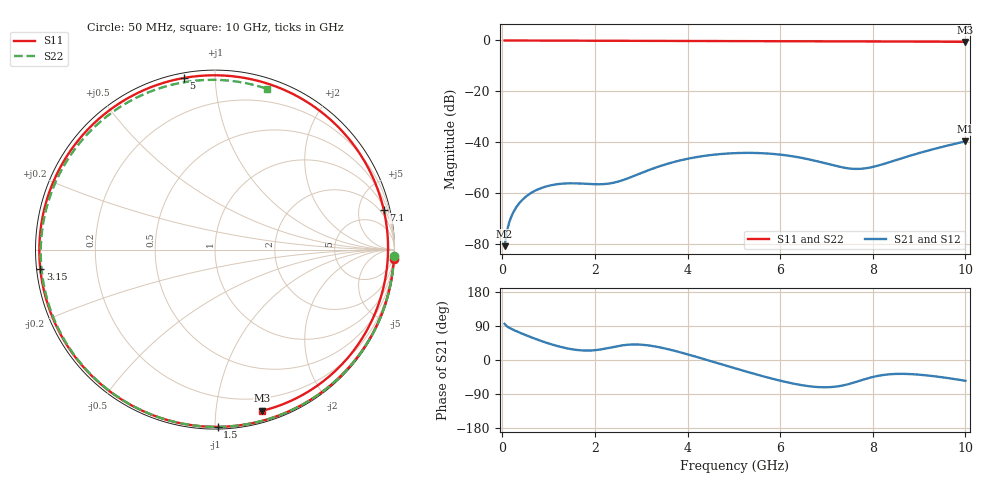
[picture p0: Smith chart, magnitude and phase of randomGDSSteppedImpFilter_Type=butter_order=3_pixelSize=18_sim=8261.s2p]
! freq	dB(S11)	phase(S11)	dB(S12)	phase(S12)
!  dB(S21)	phase(S21)	dB(S22)	phase(S22)
!S-par simulation data
#  GHz  S  DB  R 50
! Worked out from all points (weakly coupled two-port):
!   200 points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, 50 MHz to 10 GHz, reference 50 ohm
!   highest |S21| = -39.70 dB at 10 GHz (marker M1); lowest = -80.9 dB at 50 MHz (marker M2)
!   lowest |S11| = -0.6 dB at 10 GHz (marker M3), VSWR 30.15, Z = 4.6 - j66.5 ohm
!   |S11| at or under -10 dB: nowhere
!   |S22| runs from -0.5 to 0.0 dB; largest |S21 - S12| = 0
!   S11 on the Smith chart (normalised r, x): 50 MHz: 1, -38; 1.5 GHz: 0.01, -1.01; 3.15 GHz: 0.01, -0.05; 5 GHz: 0.02, +0.83; 7.1 GHz: 1.29, +8.45; 10 GHz: 0.09, -1.33
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0.05  -0.01 -3.0  -80.93 95.5  -80.93 95.5  -0.02 -1.9
0.1  -0.02 -6.1  -75.01 89.0  -75.01 89.0  -0.02 -3.8
0.2  -0.03 -12.3  -69.08 81.9  -69.08 81.9  -0.02 -7.6
0.45  -0.04 -27.7  -62.40 68.4  -62.40 68.4  -0.03 -17.1
1  -0.08 -60.7  -57.19 43.7  -57.19 43.7  -0.05 -37.6
1.5  -0.11 -89.2  -56.19 28.4  -56.19 28.4  -0.07 -55.5
1.75  -0.12 -102.9  -56.34 25.1  -56.34 25.1  -0.08 -64.2
2.1  -0.14 -121.4  -56.58 27.4  -56.58 27.4  -0.09 -75.9
2.5  -0.15 -141.9  -55.54 36.9  -55.54 36.9  -0.11 -88.7
3.15  -0.18 -173.8  -51.09 38.6  -51.09 38.6  -0.13 -108.2
3.4  -0.19 174.3  -49.47 33.4  -49.47 33.4  -0.14 -115.4
3.8  -0.21 155.4  -47.37 21.7  -47.37 21.7  -0.15 -126.5
4.25  -0.22 134.5  -45.72 6.2  -45.72 6.2  -0.17 -138.5
5  -0.25 100.4  -44.35 -21.0  -44.35 -21.0  -0.21 -157.7
5.05  -0.25 98.1  -44.31 -22.8  -44.31 -22.8  -0.21 -158.9
5.8  -0.27 65.2  -44.57 -48.4  -44.57 -48.4  -0.25 -177.4
6.7  -0.29 28.4  -47.10 -70.3  -47.10 -70.3  -0.31 160.5
7.1  -0.30 13.2  -48.92 -71.4  -48.92 -71.4  -0.33 150.5
7.7  -0.33 -8.0  -50.53 -55.5  -50.53 -55.5  -0.37 135.3
8.35  -0.37 -28.9  -47.95 -37.8  -47.95 -37.8  -0.42 118.3
9.2  -0.46 -53.3  -43.29 -41.1  -43.29 -41.1  -0.47 94.9
10  -0.58 -73.7  -39.70 -54.9  -39.70 -54.9  -0.52 72.0
